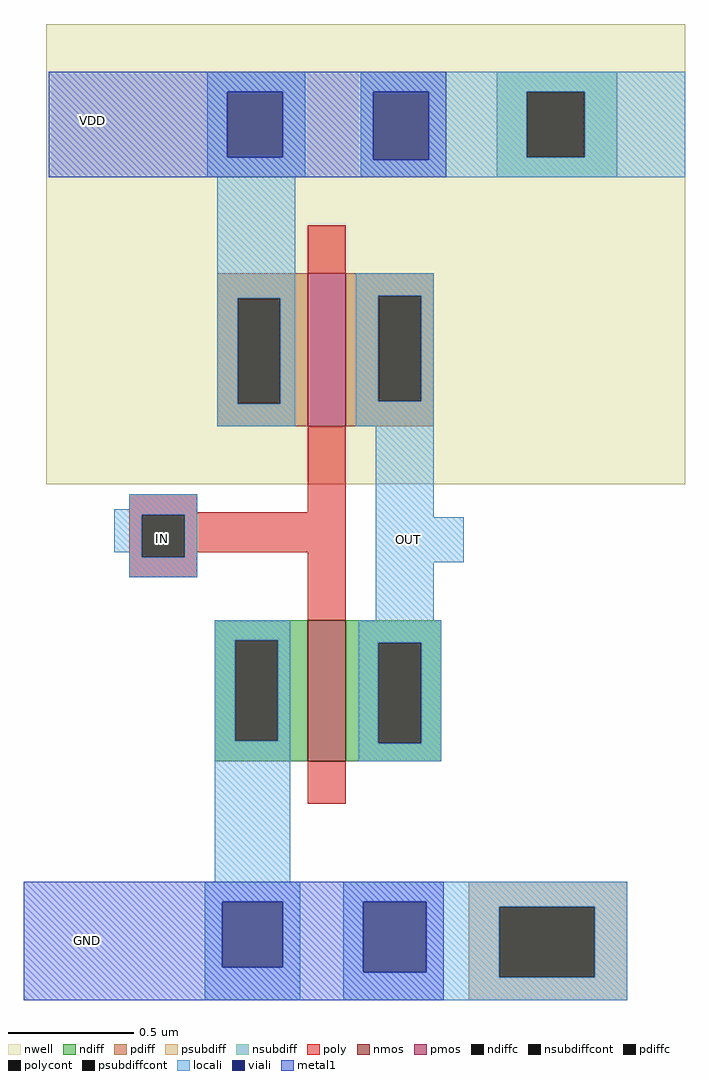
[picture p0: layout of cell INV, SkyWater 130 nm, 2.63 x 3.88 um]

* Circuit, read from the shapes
.subckt INV IN OUT
XM1 OUT IN GND GND sky130_fd_pr__nfet_01v8 w=0.56 l=0.15
XM2 OUT IN VDD VDD sky130_fd_pr__pfet_01v8 w=0.61 l=0.15
.ends

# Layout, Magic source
magic
tech sky130A
<< nwell >>
rect -114 -95 140 88
<< nmos >>
rect -10 -205 5 -149
<< pmos >>
rect -10 -72 5 -11
<< ndiff >>
rect -47 -157 -10 -149
rect -47 -197 -39 -157
rect -22 -197 -10 -157
rect -47 -205 -10 -197
rect 5 -158 43 -149
rect 5 -198 18 -158
rect 35 -198 43 -158
rect 5 -205 43 -198
<< pdiff >>
rect -46 -21 -10 -11
rect -46 -63 -38 -21
rect -21 -63 -10 -21
rect -46 -72 -10 -63
rect 5 -20 40 -11
rect 5 -62 18 -20
rect 35 -62 40 -20
rect 5 -72 40 -62
<< ndiffc >>
rect -39 -197 -22 -157
rect 18 -198 35 -158
<< pdiffc >>
rect -38 -63 -21 -21
rect 18 -62 35 -20
<< psubdiff >>
rect 54 -263 117 -253
rect 54 -291 66 -263
rect 104 -291 117 -263
rect 54 -300 117 -291
<< nsubdiff >>
rect 65 61 113 69
rect 65 35 77 61
rect 100 35 113 61
rect 65 27 113 35
<< psubdiffcont >>
rect 66 -291 104 -263
<< nsubdiffcont >>
rect 77 35 100 61
<< poly >>
rect -10 -11 5 8
rect -81 -106 -54 -99
rect -10 -106 5 -72
rect -81 -107 5 -106
rect -81 -124 -76 -107
rect -59 -122 5 -107
rect -59 -124 -54 -122
rect -81 -132 -54 -124
rect -10 -149 5 -122
rect -10 -222 5 -205
<< polycont >>
rect -76 -124 -59 -107
<< locali >>
rect -50 61 -11 69
rect -50 35 -42 61
rect -20 35 -11 61
rect -50 27 -11 35
rect 11 61 140 69
rect 11 34 16 61
rect 38 35 77 61
rect 100 35 140 61
rect 38 34 140 35
rect 11 27 140 34
rect -46 -21 -15 27
rect -46 -63 -38 -21
rect -21 -63 -15 -21
rect -46 -72 -15 -63
rect 9 -20 40 -11
rect 9 -62 18 -20
rect 35 -62 40 -20
rect 9 -72 40 -62
rect -81 -105 -54 -99
rect -87 -107 -54 -105
rect -87 -122 -76 -107
rect -81 -124 -76 -122
rect -59 -124 -54 -107
rect -81 -132 -54 -124
rect 17 -108 40 -72
rect 17 -126 52 -108
rect 17 -149 40 -126
rect -47 -157 -17 -149
rect -47 -197 -39 -157
rect -22 -197 -17 -157
rect -47 -253 -17 -197
rect 10 -158 43 -149
rect 10 -198 18 -158
rect 35 -198 43 -158
rect 10 -205 43 -198
rect -51 -261 -13 -253
rect -51 -287 -44 -261
rect -20 -287 -13 -261
rect -51 -300 -13 -287
rect 4 -261 117 -253
rect 4 -289 12 -261
rect 37 -263 117 -261
rect 37 -289 66 -263
rect 4 -291 66 -289
rect 104 -291 117 -263
rect 4 -300 117 -291
<< viali >>
rect -42 35 -20 61
rect 16 34 38 61
rect -44 -287 -20 -261
rect 12 -289 37 -261
<< metal1 >>
rect -113 61 45 69
rect -113 35 -42 61
rect -20 35 16 61
rect -113 34 16 35
rect 38 34 45 61
rect -113 27 45 34
rect -123 -261 44 -253
rect -123 -287 -44 -261
rect -20 -287 12 -261
rect -123 -289 12 -287
rect 37 -289 44 -261
rect -123 -300 44 -289
<< labels >>
flabel locali s -81 -132 -55 -101 0 FreeSans 160 0 0 0 IN
port 1 nsew
flabel locali s 19 -127 41 -107 0 FreeSans 80 0 0 0 OUT
port 2 nsew
flabel metal1 -110 37 -81 62 0 FreeSans 80 0 0 0 VDD
flabel metal1 s -116 -290 -79 -263 0 FreeSans 80 0 0 0 GND
<< end >>
